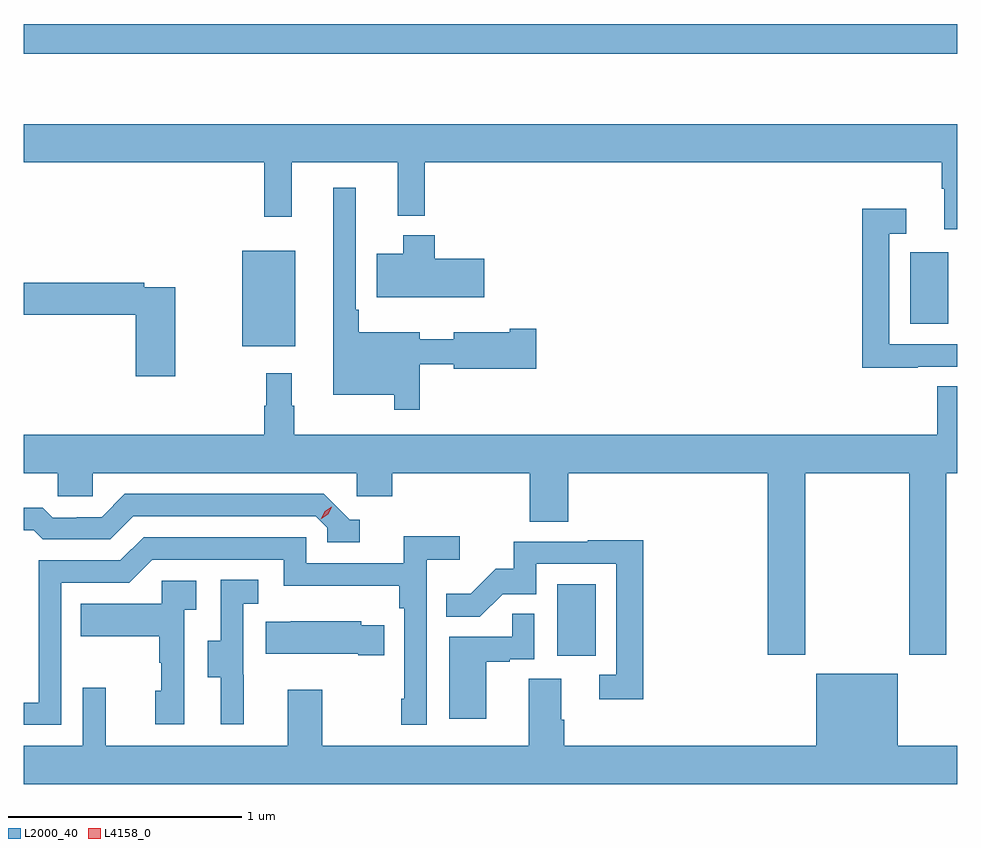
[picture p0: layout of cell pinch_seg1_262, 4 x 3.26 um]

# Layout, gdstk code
import gdstk
lib = gdstk.Library(unit=1e-6, precision=1e-09)
def R(c, l, rs):  # rectangles x0, y0, x1, y1
    for r in rs: c.add(gdstk.rectangle(r[:2], r[2:], *l))
def P(c, l, *ps):  # polygons
    for p in ps: c.add(gdstk.Polygon(p, *l))
L2000_40 = (2000, 40)
L4158_0 = (4158, 0)

pinch_seg1_262 = lib.new_cell('pinch_seg1_262')
R(pinch_seg1_262, L2000_40, [(938.144,577.59,938.308,577.897), (936.794,578.915,937.021,579.325), (939.656,579.012,939.82,579.319), (935.858,580.17,939.858,580.297)])
P(pinch_seg1_262, L2000_40, [(939.858,579.868),(935.858,579.868),(935.858,579.704),(936.889,579.704),(936.889,579.471),(937.007,579.471),(937.007,579.704),(937.46,579.704),(937.46,579.476),(937.577,579.476),(937.577,579.704),(939.791,579.704),(939.791,579.592),(939.803,579.592),(939.803,579.418),(939.858,579.418)],
  [(937.555,578.838),(937.7,578.838),(937.7,578.819),(938.053,578.819),(938.053,578.99),(937.94,578.99),(937.94,578.977),(937.7,578.977),(937.7,578.947),(937.555,578.947),(937.555,578.977),(937.294,578.977),(937.294,579.073),(937.281,579.073),(937.281,579.595),(937.184,579.595),(937.184,578.708),(937.446,578.708),(937.446,578.643),(937.555,578.643)],
  [(939.689,578.829),(939.858,578.829),(939.858,578.925),(939.567,578.925),(939.567,579.399),(939.64,579.399),(939.64,579.505),(939.451,579.505),(939.451,578.824),(939.689,578.824)],
  [(937.831,579.291),(937.619,579.291),(937.619,579.391),(937.484,579.391),(937.484,579.313),(937.37,579.313),(937.37,579.125),(937.831,579.125)],
  [(936.508,579.168),(936.374,579.168),(936.374,579.188),(935.858,579.188),(935.858,579.052),(936.338,579.052),(936.338,578.787),(936.508,578.787)],
  [(939.207,578.372),(939.652,578.372),(939.652,577.593),(939.812,577.593),(939.812,578.372),(939.858,578.372),(939.858,578.744),(939.773,578.744),(939.773,578.536),(937.018,578.536),(937.018,578.66),(937.006,578.66),(937.006,578.8),(936.897,578.8),(936.897,578.66),(936.889,578.66),(936.889,578.536),(935.858,578.536),(935.858,578.372),(936.003,578.372),(936.003,578.274),(936.153,578.274),(936.153,578.372),(937.284,578.372),(937.284,578.274),(937.436,578.274),(937.436,578.372),(938.027,578.372),(938.027,578.164),(938.192,578.164),(938.192,578.372),(939.047,578.372),(939.047,577.593),(939.207,577.593)],
  [(937.297,578.172),(937.254,578.172),(937.143,578.283),(936.29,578.283),(936.191,578.184),(936.084,578.184),(936.084,578.181),(935.981,578.181),(935.939,578.224),(935.858,578.224),(935.858,578.127),(935.9,578.127),(935.939,578.088),(936.228,578.088),(936.327,578.187),(937.11,578.187),(937.158,578.139),(937.158,578.076),(937.297,578.076)],
  [(936.018,577.902),(936.309,577.902),(936.408,578.001),(936.972,578.001),(936.972,577.889),(937.468,577.889),(937.468,577.793),(937.488,577.793),(937.488,577.405),(937.476,577.405),(937.476,577.293),(937.584,577.293),(937.584,578),(937.726,578),(937.726,578.102),(937.487,578.102),(937.487,577.986),(937.068,577.986),(937.068,578.097),(936.371,578.097),(936.272,577.998),(935.922,577.998),(935.922,577.389),(935.858,577.389),(935.858,577.293),(936.018,577.293)],
  [(938.513,578.084),(938.275,578.084),(938.275,578.079),(937.957,578.079),(937.957,577.962),(937.88,577.962),(937.773,577.855),(937.669,577.855),(937.669,577.756),(937.813,577.756),(937.911,577.854),(938.055,577.854),(938.055,577.983),(938.397,577.983),(938.397,577.509),(938.325,577.509),(938.325,577.404),(938.513,577.404)],
  [(936.8,577.509),(936.798,577.509),(936.798,577.813),(936.862,577.813),(936.862,577.916),(936.702,577.916),(936.702,577.653),(936.647,577.653),(936.647,577.498),(936.701,577.498),(936.701,577.296),(936.8,577.296)],
  [(936.546,577.787),(936.598,577.787),(936.598,577.911),(936.45,577.911),(936.45,577.813),(936.103,577.813),(936.103,577.673),(936.438,577.673),(936.438,577.559),(936.448,577.559),(936.448,577.44),(936.422,577.44),(936.422,577.296),(936.546,577.296)],
  [(937.84,577.563),(937.94,577.563),(937.94,577.575),(938.046,577.575),(938.046,577.769),(937.951,577.769),(937.951,577.671),(937.682,577.671),(937.682,577.32),(937.84,577.32)],
  [(937.403,577.72),(937.305,577.72),(937.305,577.738),(937.003,577.738),(937.003,577.735),(936.895,577.735),(936.895,577.598),(937.292,577.598),(937.292,577.591),(937.403,577.591)],
  [(939.858,577.204),(939.604,577.204),(939.604,577.513),(939.254,577.513),(939.254,577.204),(938.174,577.204),(938.174,577.316),(938.161,577.316),(938.161,577.49),(938.021,577.49),(938.021,577.204),(937.137,577.204),(937.137,577.444),(936.989,577.444),(936.989,577.204),(936.209,577.204),(936.209,577.453),(936.111,577.453),(936.111,577.204),(935.858,577.204),(935.858,577.04),(939.858,577.04)])
P(pinch_seg1_262, L4158_0, [(937.131,578.175),(937.131,578.175),(937.147,578.208),(937.177,578.228),(937.178,578.228),(937.178,578.228),(937.162,578.195),(937.131,578.175)])

lib.write_gds('pinch_seg1_262.gds')
